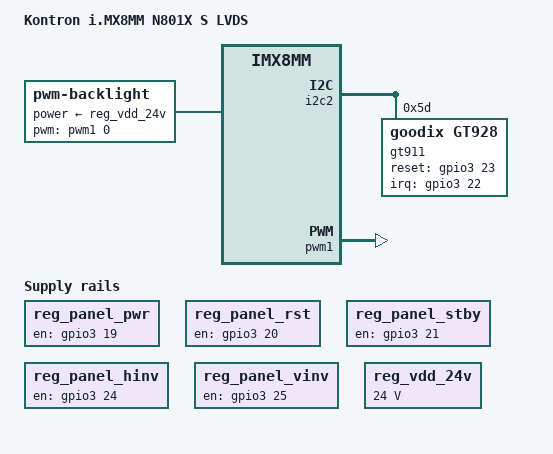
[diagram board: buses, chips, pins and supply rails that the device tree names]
// SPDX-License-Identifier: GPL-2.0
/*
 * Copyright (C) 2019 Kontron Electronics GmbH
 */

#include "imx8mm-kontron-n801x-s.dts"

/ {
	model = "Kontron i.MX8MM N801X S LVDS";
	compatible = "kontron,imx8mm-n801x-s-lvds", "fsl,imx8mm";

	backlight: backlight {
		compatible = "pwm-backlight";
		pwms = <&pwm1 0 50000>; /* period = 5000000 ns => f = 200 Hz */
		power-supply = <&reg_vdd_24v>;
		brightness-levels = <0 100>;
		num-interpolated-steps = <100>;
		default-brightness-level = <100>;
		status = "okay";
	};

	reg_panel_pwr: regpanel-pwr {
		compatible = "regulator-fixed";
		regulator-name = "reg_panel_pwr";
		regulator-always-on;
		gpio = <&gpio3 19 GPIO_ACTIVE_HIGH>;
		enable-active-high;
	};

	reg_panel_rst: regpanel-rst {
		compatible = "regulator-fixed";
		regulator-name = "reg_panel_rst";
		regulator-always-on;
		gpio = <&gpio3 20 GPIO_ACTIVE_HIGH>;
		enable-active-high;
	};

	reg_panel_stby: regpanel-stby {
		compatible = "regulator-fixed";
		regulator-name = "reg_panel_stby";
		regulator-always-on;
		gpio = <&gpio3 21 GPIO_ACTIVE_HIGH>;
		enable-active-high;
	};

	reg_panel_hinv: regpanel-hinv {
		compatible = "regulator-fixed";
		regulator-name = "reg_panel_hinv";
		regulator-always-on;
		gpio = <&gpio3 24 GPIO_ACTIVE_HIGH>;
		enable-active-high;
	};

	reg_panel_vinv: regpanel-vinv {
		compatible = "regulator-fixed";
		regulator-name = "reg_panel_vinv";
		gpio = <&gpio3 25 GPIO_ACTIVE_HIGH>;
		enable-active-high;
	};

	reg_vdd_24v: regulator-24v {
		compatible = "regulator-fixed";
		regulator-name = "reg-vdd-24v";
		regulator-min-microvolt = <24000000>;
		regulator-max-microvolt = <24000000>;
		regulator-boot-on;
		regulator-always-on;
		status = "okay";
	};
};

&i2c2 {
	status = "okay";

	gt911@5d {
		compatible = "goodix,gt928";
		reg = <0x5d>;
		pinctrl-names = "default";
		pinctrl-0 = <&pinctrl_touch>;
		interrupt-parent = <&gpio3>;
		interrupts = <22 8>;
		reset-gpios = <&gpio3 23 0>;
		irq-gpios = <&gpio3 22 0>;
	};
};

&pwm1 {
	pinctrl-names = "default";
	pinctrl-0 = <&pinctrl_pwm1>;
	#pwm-cells = <2>;
	status = "okay";
};

&iomuxc {
	pinctrl_panel: panelgrp {
		fsl,pins = <
			MX8MM_IOMUXC_SAI5_RXFS_GPIO3_IO19	0x19 /* TFT-PWR - family */
			MX8MM_IOMUXC_SAI5_RXC_GPIO3_IO20	0x19 /* RESET family */
			MX8MM_IOMUXC_SAI5_RXD0_GPIO3_IO21	0x19 /* STBY family */
			MX8MM_IOMUXC_SAI5_RXD3_GPIO3_IO24	0x19 /* HINV panel */
			MX8MM_IOMUXC_SAI5_MCLK_GPIO3_IO25	0x19 /* VINV panel */
		>;
	};

	pinctrl_pwm1: pwm1grp {
		fsl,pins = <
			MX8MM_IOMUXC_SPDIF_EXT_CLK_PWM1_OUT	0x6
		>;
	};

	pinctrl_touch: touchgrp {
		fsl,pins = <
			MX8MM_IOMUXC_SAI5_RXD1_GPIO3_IO22	0x19 /* Touch Interrupt */
			MX8MM_IOMUXC_SAI5_RXD2_GPIO3_IO23	0x19 /* Touch Reset */
		>;
	};
};
